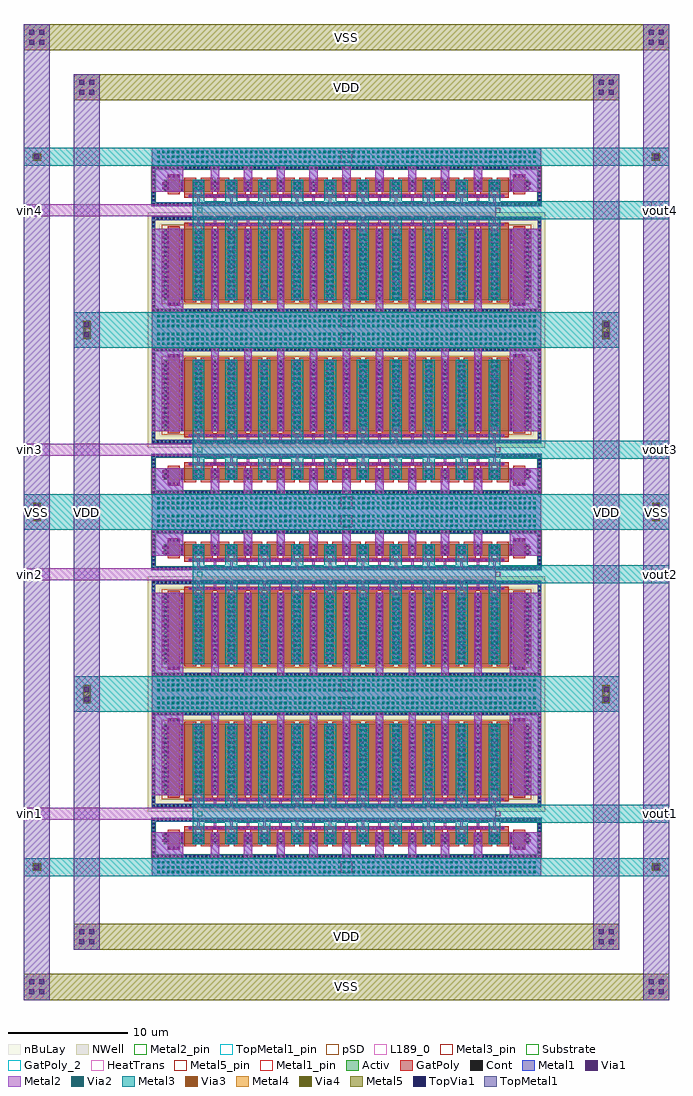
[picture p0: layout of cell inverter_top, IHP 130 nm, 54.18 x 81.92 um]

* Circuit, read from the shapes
.subckt inverter_top VDD VSS vin1 vin2 vin3 vin4 vout1 vout2 vout3 vout4
XM1 VSS VSS VSS VSS sg13_lv_nmos w=1u l=1u m=8
XM2 vout1 vin1 VSS VSS sg13_lv_nmos w=1u l=1u m=20
XM3 vout2 vin2 VSS VSS sg13_lv_nmos w=1u l=1u m=20
XM4 vout3 vin3 VSS VSS sg13_lv_nmos w=1u l=1u m=20
XM5 vout4 vin4 VSS VSS sg13_lv_nmos w=1u l=1u m=20
XM6 VDD VDD VDD VDD sg13_lv_pmos w=6u l=1u m=8
XM7 vout1 vin1 VDD VDD sg13_lv_pmos w=6u l=1u m=20
XM8 vout2 vin2 VDD VDD sg13_lv_pmos w=6u l=1u m=20
XM9 vout3 vin3 VDD VDD sg13_lv_pmos w=6u l=1u m=20
XM10 vout4 vin4 VDD VDD sg13_lv_pmos w=6u l=1u m=20
.ends

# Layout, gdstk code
import gdstk
lib = gdstk.Library(unit=1e-6, precision=1e-09)
def R(c, l, rs):  # rectangles x0, y0, x1, y1
    for r in rs: c.add(gdstk.rectangle(r[:2], r[2:], *l))
def A(c, l, x, y, w, h, nx, ny, dx, dy):  # array of equal rectangles
    R(c, l, [(x+i*dx, y+j*dy, x+i*dx+w, y+j*dy+h) for i in range(nx) for j in range(ny)])
def P(c, l, *ps):  # polygons
    for p in ps: c.add(gdstk.Polygon(p, *l))
Activ = (1, 0)
GatPoly = (5, 0)
GatPoly_2 = (5, 2)
Cont = (6, 0)
Metal1 = (8, 0)
Metal1_pin = (8, 2)
Metal2 = (10, 0)
Metal2_pin = (10, 2)
pSD = (14, 0)
Via1 = (19, 0)
Via2 = (29, 0)
Metal3 = (30, 0)
Metal3_pin = (30, 2)
NWell = (31, 0)
nBuLay = (32, 0)
Substrate = (40, 0)
Via3 = (49, 0)
Metal4 = (50, 0)
HeatTrans = (51, 0)
Via4 = (66, 0)
Metal5 = (67, 0)
Metal5_pin = (67, 2)
TopVia1 = (125, 0)
TopMetal1 = (126, 0)
TopMetal1_pin = (126, 2)
L189_0 = (189, 0)

nmos = lib.new_cell('nmos')
A(nmos, Activ, 0, 0, 0.3, 0.3, 23, 1, 1.38, 0)
R(nmos, Activ, [(0,0,30.66,1)])
P(nmos, Activ, [(-1.01,-1.19),(-1.01,1.89),(-0.71,1.89),(-0.71,-0.89),(31.37,-0.89),(31.37,1.89),(-1.01,1.89),(-1.01,2.19),(31.67,2.19),(31.67,-1.19)])
A(nmos, GatPoly, 0.34, -0.18, 1, 1.36, 22, 1, 1.38, 0)
R(nmos, GatPoly_2, [(0.34,-0.18,1.34,1.18), (0.34,-0.18,1.34,1.18)])
A(nmos, Cont, -0.94, -1.12, 0.16, 0.16, 48, 2, 0.34, 3.08)
A(nmos, Cont, 15.46, -1.12, 0.16, 0.16, 48, 2, 0.34, 3.08)
A(nmos, Cont, -0.94, -0.78, 0.16, 0.16, 1, 4, 0, 0.34)
A(nmos, Cont, 31.44, -0.78, 0.16, 0.16, 1, 4, 0, 0.34)
A(nmos, Cont, 0.07, 0.07, 0.16, 0.16, 23, 3, 1.38, 0.35)
A(nmos, Cont, -0.94, 0.6, 0.16, 0.16, 1, 4, 0, 0.34)
A(nmos, Cont, 31.44, 0.6, 0.16, 0.16, 1, 4, 0, 0.34)
A(nmos, Metal1, 0.07, 0, 0.16, 1, 23, 1, 1.38, 0)
R(nmos, Metal1, [(-1.01,-1.19,31.67,-0.89), (-1.01,-0.89,-0.71,1.89), (31.37,-0.89,31.67,1.89), (-1.01,1.89,31.67,2.19)])
R(nmos, Metal1_pin, [(0.07,0,0.23,1), (0.07,0,0.23,1), (1.45,0,1.61,1), (1.45,0,1.61,1)])
P(nmos, pSD, [(-1.04,-1.22),(-1.04,1.86),(-0.68,1.86),(-0.68,-0.86),(31.34,-0.86),(31.34,1.86),(-1.04,1.86),(-1.04,2.22),(31.7,2.22),(31.7,-1.22)])
P(nmos, Substrate, [(-1.04,-1.22),(-1.04,1.86),(-0.68,1.86),(-0.68,-0.86),(31.34,-0.86),(31.34,1.86),(-1.04,1.86),(-1.04,2.22),(31.7,2.22),(31.7,-1.22)])
A(nmos, HeatTrans, 0.34, -0.18, 1, 1.36, 22, 1, 1.38, 0)
nmos.add(gdstk.Label('nmos', (0.84,0.5), layer=63, texttype=0))
nmos.add(gdstk.Label('sub!', (15.33,-1.04), layer=63, texttype=0))
nmos.add(gdstk.Label('nmos', (0.84,0.5), layer=51, texttype=0))
nmos.add(gdstk.Label('nmos', (2.22,0.5), layer=51, texttype=0))
nmos.add(gdstk.Label('nmos', (3.6,0.5), layer=51, texttype=0))
nmos.add(gdstk.Label('nmos', (4.98,0.5), layer=51, texttype=0))
nmos.add(gdstk.Label('nmos', (6.36,0.5), layer=51, texttype=0))
nmos.add(gdstk.Label('nmos', (7.74,0.5), layer=51, texttype=0))
nmos.add(gdstk.Label('nmos', (9.12,0.5), layer=51, texttype=0))
nmos.add(gdstk.Label('nmos', (10.5,0.5), layer=51, texttype=0))
nmos.add(gdstk.Label('nmos', (11.88,0.5), layer=51, texttype=0))
nmos.add(gdstk.Label('nmos', (13.26,0.5), layer=51, texttype=0))
nmos.add(gdstk.Label('nmos', (14.64,0.5), layer=51, texttype=0))
nmos.add(gdstk.Label('nmos', (16.02,0.5), layer=51, texttype=0))
nmos.add(gdstk.Label('nmos', (17.4,0.5), layer=51, texttype=0))
nmos.add(gdstk.Label('nmos', (18.78,0.5), layer=51, texttype=0))
nmos.add(gdstk.Label('nmos', (20.16,0.5), layer=51, texttype=0))
nmos.add(gdstk.Label('nmos', (21.54,0.5), layer=51, texttype=0))
nmos.add(gdstk.Label('nmos', (22.92,0.5), layer=51, texttype=0))
nmos.add(gdstk.Label('nmos', (24.3,0.5), layer=51, texttype=0))
nmos.add(gdstk.Label('nmos', (25.68,0.5), layer=51, texttype=0))
nmos.add(gdstk.Label('nmos', (27.06,0.5), layer=51, texttype=0))
nmos.add(gdstk.Label('nmos', (28.44,0.5), layer=51, texttype=0))
nmos.add(gdstk.Label('nmos', (29.82,0.5), layer=51, texttype=0))
nmos.add(gdstk.Label('sub!', (15.33,-1.04), layer=40, texttype=0))

via_stack = lib.new_cell('via_stack')
R(via_stack, Metal1, [(-0.35,-0.31,0.35,0.31)])
R(via_stack, Metal2, [(-0.35,-0.305,0.35,0.305)])
R(via_stack, Via1, [(-0.3,-0.3,-0.11,-0.11), (0.11,-0.3,0.3,-0.11), (-0.3,0.11,-0.11,0.3), (0.11,0.11,0.3,0.3)])

via_stack_1 = lib.new_cell('via_stack$1')
R(via_stack_1, Metal1, [(-0.105,-0.35,0.105,0.35)])
R(via_stack_1, Metal2, [(-0.1,-0.35,0.1,0.35)])
R(via_stack_1, Via1, [(-0.095,-0.3,0.095,-0.11), (-0.095,0.11,0.095,0.3)])

via_stack_2 = lib.new_cell('via_stack$2')
R(via_stack_2, Metal1, [(-0.35,-0.31,0.35,0.31)])
R(via_stack_2, Metal2, [(-0.35,-0.305,0.35,0.305)])
R(via_stack_2, Via1, [(-0.3,-0.3,-0.11,-0.11), (0.11,-0.3,0.3,-0.11), (-0.3,0.11,-0.11,0.3), (0.11,0.11,0.3,0.3)])
R(via_stack_2, Via2, [(-0.3,-0.3,-0.11,-0.11), (0.11,-0.3,0.3,-0.11), (-0.3,0.11,-0.11,0.3), (0.11,0.11,0.3,0.3)])
R(via_stack_2, Metal3, [(-0.35,-0.305,0.35,0.305)])

via_stack_3 = lib.new_cell('via_stack$3')
R(via_stack_3, GatPoly, [(-13.24,-0.15,13.24,0.15)])
A(via_stack_3, Cont, -13.17, -0.08, 0.16, 0.16, 78, 1, 0.34, 0)
R(via_stack_3, Metal1, [(-13.22,-0.08,13.22,0.08)])

via_stack_4 = lib.new_cell('via_stack$4')
R(via_stack_4, Metal1, [(-13.06,-0.105,13.06,0.105)])
R(via_stack_4, Metal2, [(-13.06,-0.1,13.06,0.1)])
A(via_stack_4, Via1, -13.01, -0.095, 0.19, 0.19, 64, 1, 0.41, 0)

via_stack_5 = lib.new_cell('via_stack$5')
R(via_stack_5, GatPoly, [(-0.49,-0.15,0.49,0.15)])
A(via_stack_5, Cont, -0.42, -0.08, 0.16, 0.16, 3, 1, 0.34, 0)
R(via_stack_5, Metal1, [(-0.555,-0.105,0.555,0.105)])
R(via_stack_5, Metal2, [(-0.555,-0.1,0.555,0.1)])
A(via_stack_5, Via1, -0.505, -0.095, 0.19, 0.19, 3, 1, 0.41, 0)

pmos = lib.new_cell('pmos')
A(pmos, Activ, 0, 0, 0.3, 0.3, 23, 1, 1.38, 0)
R(pmos, Activ, [(0,0,30.66,6)])
P(pmos, Activ, [(-1.01,-1.01),(-1.01,6.71),(-0.71,6.71),(-0.71,-0.71),(31.37,-0.71),(31.37,6.71),(-1.01,6.71),(-1.01,7.01),(31.67,7.01),(31.67,-1.01)])
A(pmos, GatPoly, 0.34, -0.18, 1, 6.36, 22, 1, 1.38, 0)
R(pmos, GatPoly, [(0.34,-0.18,1.34,6.18), (0.34,-0.18,1.34,6.18)])
A(pmos, Cont, -0.94, -0.94, 0.16, 0.16, 48, 2, 0.34, 7.72)
A(pmos, Cont, 15.46, -0.94, 0.16, 0.16, 48, 2, 0.34, 7.72)
A(pmos, Cont, -0.94, -0.6, 0.16, 0.16, 1, 10, 0, 0.34)
A(pmos, Cont, 31.44, -0.6, 0.16, 0.16, 1, 10, 0, 0.34)
A(pmos, Cont, 0.07, 0.07, 0.16, 0.16, 23, 4, 1.38, 0.355)
A(pmos, Cont, 0.07, 1.495, 0.16, 0.16, 23, 4, 1.38, 0.355)
A(pmos, Cont, 0.07, 2.92, 0.16, 0.16, 23, 4, 1.38, 0.355)
A(pmos, Cont, -0.94, 3.04, 0.16, 0.16, 1, 11, 0, 0.34)
A(pmos, Cont, 31.44, 3.04, 0.16, 0.16, 1, 11, 0, 0.34)
A(pmos, Cont, 0.07, 4.345, 0.16, 0.16, 23, 4, 1.38, 0.355)
A(pmos, Cont, 0.07, 5.77, 0.16, 0.16, 23, 1, 1.38, 0)
A(pmos, Metal1, 1.45, 0, 0.16, 6, 22, 1, 1.38, 0)
R(pmos, Metal1, [(-1.01,-1.01,31.67,-0.71), (-1.01,-0.71,-0.71,6.71), (31.37,-0.71,31.67,6.71), (0.07,0,0.23,6), (0.07,0,0.23,6), (0.07,0,0.23,6), (1.45,0,1.61,6), (1.45,0,1.61,6), (-1.01,6.71,31.67,7.01)])
R(pmos, pSD, [(-0.18,-0.3,30.84,6.3)])
R(pmos, NWell, [(-1.36,-1.36,32.02,7.36), (-0.31,-0.31,30.97,6.31)])
P(pmos, nBuLay, [(-1.36,-1.36),(-1.36,6.36),(-0.36,6.36),(-0.36,-0.36),(31.02,-0.36),(31.02,6.36),(-1.36,6.36),(-1.36,7.36),(32.02,7.36),(32.02,-1.36)])
A(pmos, HeatTrans, 0.34, -0.18, 1, 6.36, 22, 1, 1.38, 0)
pmos.add(gdstk.Label('pmos', (0.84,3), layer=63, texttype=0))
pmos.add(gdstk.Label('well', (15.33,-0.86), layer=63, texttype=0))
pmos.add(gdstk.Label('pmos', (0.84,3), layer=51, texttype=0))
pmos.add(gdstk.Label('pmos', (2.22,3), layer=51, texttype=0))
pmos.add(gdstk.Label('pmos', (3.6,3), layer=51, texttype=0))
pmos.add(gdstk.Label('pmos', (4.98,3), layer=51, texttype=0))
pmos.add(gdstk.Label('pmos', (6.36,3), layer=51, texttype=0))
pmos.add(gdstk.Label('pmos', (7.74,3), layer=51, texttype=0))
pmos.add(gdstk.Label('pmos', (9.12,3), layer=51, texttype=0))
pmos.add(gdstk.Label('pmos', (10.5,3), layer=51, texttype=0))
pmos.add(gdstk.Label('pmos', (11.88,3), layer=51, texttype=0))
pmos.add(gdstk.Label('pmos', (13.26,3), layer=51, texttype=0))
pmos.add(gdstk.Label('pmos', (14.64,3), layer=51, texttype=0))
pmos.add(gdstk.Label('pmos', (16.02,3), layer=51, texttype=0))
pmos.add(gdstk.Label('pmos', (17.4,3), layer=51, texttype=0))
pmos.add(gdstk.Label('pmos', (18.78,3), layer=51, texttype=0))
pmos.add(gdstk.Label('pmos', (20.16,3), layer=51, texttype=0))
pmos.add(gdstk.Label('pmos', (21.54,3), layer=51, texttype=0))
pmos.add(gdstk.Label('pmos', (22.92,3), layer=51, texttype=0))
pmos.add(gdstk.Label('pmos', (24.3,3), layer=51, texttype=0))
pmos.add(gdstk.Label('pmos', (25.68,3), layer=51, texttype=0))
pmos.add(gdstk.Label('pmos', (27.06,3), layer=51, texttype=0))
pmos.add(gdstk.Label('pmos', (28.44,3), layer=51, texttype=0))
pmos.add(gdstk.Label('pmos', (29.82,3), layer=51, texttype=0))
pmos.add(gdstk.Label('well', (15.33,3), layer=31, texttype=0))

via_stack_6 = lib.new_cell('via_stack$6')
R(via_stack_6, Metal1, [(-0.31,-2.81,0.31,2.81)])
R(via_stack_6, Metal2, [(-0.305,-2.81,0.305,2.81)])
A(via_stack_6, Via1, -0.3, -2.76, 0.19, 0.19, 1, 14, 0, 0.41)
A(via_stack_6, Via1, 0.11, -2.76, 0.19, 0.19, 1, 14, 0, 0.41)

via_stack_7 = lib.new_cell('via_stack$7')
R(via_stack_7, Metal1, [(-0.105,-2.81,0.105,2.81)])
R(via_stack_7, Metal2, [(-0.1,-2.81,0.1,2.81)])
A(via_stack_7, Via1, -0.095, -2.76, 0.19, 0.19, 1, 14, 0, 0.41)

via_stack_8 = lib.new_cell('via_stack$8')
R(via_stack_8, Metal1, [(-0.31,-2.81,0.31,2.81)])
R(via_stack_8, Metal2, [(-0.305,-2.81,0.305,2.81)])
A(via_stack_8, Via1, -0.3, -2.76, 0.19, 0.19, 1, 14, 0, 0.41)
A(via_stack_8, Via1, 0.11, -2.76, 0.19, 0.19, 1, 14, 0, 0.41)
A(via_stack_8, Via2, -0.3, -2.76, 0.19, 0.19, 1, 14, 0, 0.41)
A(via_stack_8, Via2, 0.11, -2.76, 0.19, 0.19, 1, 14, 0, 0.41)
R(via_stack_8, Metal3, [(-0.305,-2.81,0.305,2.81)])

via_stack_9 = lib.new_cell('via_stack$9')
R(via_stack_9, Metal1, [(-15.93,-0.515,15.93,0.515)])
R(via_stack_9, Metal2, [(-15.93,-0.51,15.93,0.51)])
A(via_stack_9, Via1, -15.88, -0.505, 0.19, 0.19, 78, 3, 0.41, 0.41)
A(via_stack_9, Via2, -15.88, -0.505, 0.19, 0.19, 78, 3, 0.41, 0.41)
R(via_stack_9, Metal3, [(-15.93,-0.51,15.93,0.51)])

inverter = lib.new_cell('inverter')
R(inverter, GatPoly, [(1.7,2.21,2.7,2.51), (30.68,2.21,31.68,2.51), (3.08,3.87,30.3,4.17), (3.08,6.29,30.3,6.59), (1.7,12.95,2.7,13.25), (30.68,12.95,31.68,13.25)])
A(inverter, Metal1, 5.3, 1.5, 0.7, 2.19, 9, 1, 2.76, 0)
A(inverter, Metal1, 3.92, 2.69, 0.7, 1, 10, 1, 2.76, 0)
A(inverter, Metal1, 3.96, 6.77, 0.62, 6, 10, 1, 2.76, 0)
A(inverter, Metal1, 5.34, 6.77, 0.62, 7.01, 9, 1, 2.76, 0)
R(inverter, Metal1, [(0.35,0,33.03,1.5), (0.35,1.5,2.995,3.69), (30.385,1.5,33.03,3.69), (3.47,3.915,29.91,4.125), (3.47,6.335,29.91,6.545), (0.35,6.77,2.995,13.78), (30.385,6.77,33.03,13.78), (0.35,13.78,33.03,15.28)])
A(inverter, Metal2, 5.3, 1.5, 0.7, 2.19, 9, 1, 2.76, 0)
A(inverter, Metal2, 3.92, 2.69, 0.7, 1, 10, 1, 2.76, 0)
A(inverter, Metal2, 4.165, 4.12, 0.21, 2.22, 19, 1, 1.38, 0)
A(inverter, Metal2, 3.96, 6.77, 0.62, 6, 10, 1, 2.76, 0)
A(inverter, Metal2, 5.34, 6.77, 0.62, 7.01, 9, 1, 2.76, 0)
R(inverter, Metal2, [(0.35,0,33.03,1.5), (0.35,1.5,2.995,3.69), (30.385,1.5,33.03,3.69), (3.47,3.915,29.91,4.125), (4.165,4.73,29.215,5.73), (3.47,6.335,29.91,6.545), (0.35,6.77,2.995,13.78), (30.385,6.77,33.03,13.78), (0.35,13.78,33.03,15.28)])
R(inverter, Metal2_pin, [(4.165,5.03,4.565,5.43)])
A(inverter, Metal3, 3.77, 2.69, 1, 10.08, 10, 1, 2.76, 0)
R(inverter, Metal3, [(0.35,0,33.03,1.5), (3.77,4.48,29.61,5.98), (0.35,13.78,33.03,15.28)])
R(inverter, Metal3_pin, [(16.19,0.26,17.19,1.26), (29.21,5.03,29.61,5.43), (16.2,14.03,17.2,15.03)])
inverter.add(gdstk.Reference(nmos, (1.36,2.69)))
inverter.add(gdstk.Reference(via_stack, (1.51,3.19)))
inverter.add(gdstk.Reference(via_stack, (31.87,3.19)))
inverter.add(gdstk.Reference(via_stack_1, (2.89,3.19)))
inverter.add(gdstk.Reference(via_stack_1, (30.49,3.19)))
inverter.add(gdstk.Reference(via_stack, (5.65,3.19)))
inverter.add(gdstk.Reference(via_stack, (8.41,3.19)))
inverter.add(gdstk.Reference(via_stack, (11.17,3.19)))
inverter.add(gdstk.Reference(via_stack, (13.93,3.19)))
inverter.add(gdstk.Reference(via_stack, (16.69,3.19)))
inverter.add(gdstk.Reference(via_stack, (19.45,3.19)))
inverter.add(gdstk.Reference(via_stack, (22.21,3.19)))
inverter.add(gdstk.Reference(via_stack, (24.97,3.19)))
inverter.add(gdstk.Reference(via_stack, (27.73,3.19)))
inverter.add(gdstk.Reference(via_stack_2, (4.27,3.19)))
inverter.add(gdstk.Reference(via_stack_2, (7.03,3.19)))
inverter.add(gdstk.Reference(via_stack_2, (9.79,3.19)))
inverter.add(gdstk.Reference(via_stack_2, (12.55,3.19)))
inverter.add(gdstk.Reference(via_stack_2, (15.31,3.19)))
inverter.add(gdstk.Reference(via_stack_2, (18.07,3.19)))
inverter.add(gdstk.Reference(via_stack_2, (20.83,3.19)))
inverter.add(gdstk.Reference(via_stack_2, (23.59,3.19)))
inverter.add(gdstk.Reference(via_stack_2, (26.35,3.19)))
inverter.add(gdstk.Reference(via_stack_2, (29.11,3.19)))
inverter.add(gdstk.Reference(via_stack_3, (16.69,4.02)))
inverter.add(gdstk.Reference(via_stack_4, (16.69,4.02)))
inverter.add(gdstk.Reference(via_stack_5, (2.2,2.36)))
inverter.add(gdstk.Reference(via_stack_5, (31.18,2.36)))
inverter.add(gdstk.Reference(pmos, (1.36,6.77)))
inverter.add(gdstk.Reference(via_stack_6, (1.51,9.77)))
inverter.add(gdstk.Reference(via_stack_6, (31.87,9.77)))
inverter.add(gdstk.Reference(via_stack_7, (2.89,9.77)))
inverter.add(gdstk.Reference(via_stack_7, (30.49,9.77)))
inverter.add(gdstk.Reference(via_stack_6, (5.65,9.77)))
inverter.add(gdstk.Reference(via_stack_6, (8.41,9.77)))
inverter.add(gdstk.Reference(via_stack_6, (11.17,9.77)))
inverter.add(gdstk.Reference(via_stack_6, (13.93,9.77)))
inverter.add(gdstk.Reference(via_stack_6, (16.69,9.77)))
inverter.add(gdstk.Reference(via_stack_6, (19.45,9.77)))
inverter.add(gdstk.Reference(via_stack_6, (22.21,9.77)))
inverter.add(gdstk.Reference(via_stack_6, (24.97,9.77)))
inverter.add(gdstk.Reference(via_stack_6, (27.73,9.77)))
inverter.add(gdstk.Reference(via_stack_8, (4.27,9.77)))
inverter.add(gdstk.Reference(via_stack_8, (7.03,9.77)))
inverter.add(gdstk.Reference(via_stack_8, (9.79,9.77)))
inverter.add(gdstk.Reference(via_stack_8, (12.55,9.77)))
inverter.add(gdstk.Reference(via_stack_8, (15.31,9.77)))
inverter.add(gdstk.Reference(via_stack_8, (18.07,9.96)))
inverter.add(gdstk.Reference(via_stack_8, (20.83,9.96)))
inverter.add(gdstk.Reference(via_stack_8, (23.59,9.96)))
inverter.add(gdstk.Reference(via_stack_8, (26.35,9.96)))
inverter.add(gdstk.Reference(via_stack_8, (29.11,9.96)))
inverter.add(gdstk.Reference(via_stack_3, (16.69,6.44)))
inverter.add(gdstk.Reference(via_stack_4, (16.69,6.44)))
inverter.add(gdstk.Reference(via_stack_5, (2.2,13.1)))
inverter.add(gdstk.Reference(via_stack_5, (31.18,13.1)))
inverter.add(gdstk.Reference(via_stack_9, (16.69,0.75)))
inverter.add(gdstk.Reference(via_stack_9, (16.69,14.53)))
inverter.add(gdstk.Label('vin', (4.365,5.23), layer=10, texttype=25))
inverter.add(gdstk.Label('vout', (29.41,5.23), layer=30, texttype=25))
inverter.add(gdstk.Label('VSS', (16.69,0.76), layer=30, texttype=25))
inverter.add(gdstk.Label('VDD', (16.7,14.53), layer=30, texttype=25))

via = lib.new_cell('Via')
R(via, Metal5, [(-0.73,-0.73,0.73,0.73)])
R(via, TopVia1, [(-0.63,-0.63,-0.21,-0.21), (0.21,-0.63,0.63,-0.21), (-0.63,0.21,-0.21,0.63), (0.21,0.21,0.63,0.63)])
R(via, TopMetal1, [(-1.05,-1.05,1.05,1.05)])

via_stack_10 = lib.new_cell('via_stack$10')
R(via_stack_10, Metal3, [(-0.35,-0.305,0.35,0.305)])
R(via_stack_10, Via3, [(-0.3,-0.3,-0.11,-0.11), (0.11,-0.3,0.3,-0.11), (-0.3,0.11,-0.11,0.3), (0.11,0.11,0.3,0.3)])
R(via_stack_10, Metal4, [(-0.35,-0.305,0.35,0.305)])
R(via_stack_10, Via4, [(-0.3,-0.3,-0.11,-0.11), (0.11,-0.3,0.3,-0.11), (-0.3,0.11,-0.11,0.3), (0.11,0.11,0.3,0.3)])
R(via_stack_10, Metal5, [(-0.35,-0.31,0.35,0.31)])
R(via_stack_10, TopVia1, [(-0.21,-0.21,0.21,0.21)])
R(via_stack_10, TopMetal1, [(-0.82,-0.82,0.82,0.82)])

via_stack_11 = lib.new_cell('via_stack$11')
R(via_stack_11, Metal3, [(-0.305,-0.76,0.305,0.76)])
A(via_stack_11, Via3, -0.3, -0.71, 0.19, 0.19, 1, 4, 0, 0.41)
A(via_stack_11, Via3, 0.11, -0.71, 0.19, 0.19, 1, 4, 0, 0.41)
R(via_stack_11, Metal4, [(-0.305,-0.76,0.305,0.76)])
A(via_stack_11, Via4, -0.3, -0.71, 0.19, 0.19, 1, 4, 0, 0.41)
A(via_stack_11, Via4, 0.11, -0.71, 0.19, 0.19, 1, 4, 0, 0.41)
R(via_stack_11, Metal5, [(-0.31,-0.76,0.31,0.76)])
R(via_stack_11, TopVia1, [(-0.21,-0.63,0.21,-0.21), (-0.21,0.21,0.21,0.63)])
R(via_stack_11, TopMetal1, [(-0.82,-1.05,0.82,1.05)])

inverter_top = lib.new_cell('inverter_top')
R(inverter_top, Metal2, [(0,15.13,14.565,16.13), (0,35.23,14.565,36.23), (0,45.69,14.565,46.69), (0,65.79,14.565,66.79)])
R(inverter_top, Metal2_pin, [(0,15.13,1,16.13), (0,35.23,1,36.23), (0,45.69,1,46.69), (0,65.79,1,66.79)])
R(inverter_top, Metal3, [(0,10.4,10.75,11.9), (43.43,10.4,54.18,11.9), (40.01,14.88,54.18,16.38), (4.2,24.18,10.75,27.18), (43.43,24.18,49.98,27.18), (40.01,34.98,54.18,36.48), (0,39.46,10.75,42.46), (43.43,39.46,54.18,42.46), (40.01,45.44,54.18,46.94), (4.2,54.74,10.75,57.74), (43.43,54.74,49.98,57.74), (40.01,65.54,54.18,67.04), (0,70.02,10.75,71.52), (43.43,70.02,54.18,71.52)])
R(inverter_top, Metal3_pin, [(52.68,14.88,54.18,16.38), (52.68,34.98,54.18,36.48), (52.68,45.44,54.18,46.94), (52.68,65.54,54.18,67.04)])
R(inverter_top, NWell, [(10.4,24.53,43.78,26.83), (10.4,55.09,43.78,57.39)])
R(inverter_top, Metal5, [(0,0,54.18,2.2), (4.2,4.2,49.98,6.4), (4.2,75.52,49.98,77.72), (0,79.72,54.18,81.92)])
R(inverter_top, Metal5_pin, [(0,0,54.18,2.2), (4.2,4.2,49.98,6.4), (4.2,75.52,49.98,77.72), (0,79.72,54.18,81.92)])
R(inverter_top, TopMetal1, [(0,0,2.2,81.92), (51.98,0,54.18,81.92), (4.2,4.2,6.4,77.72), (47.78,4.2,49.98,77.72)])
R(inverter_top, TopMetal1_pin, [(0,0,2.2,81.92), (51.98,0,54.18,81.92), (4.2,4.2,6.4,77.72), (47.78,4.2,49.98,77.72)])
R(inverter_top, L189_0, [(0,0,54.18,81.92)])
inverter_top.add(gdstk.Reference(inverter, (10.4,10.4)))
inverter_top.add(gdstk.Reference(inverter, (10.4,40.96), x_reflection=True))
inverter_top.add(gdstk.Reference(inverter, (10.4,40.96)))
inverter_top.add(gdstk.Reference(inverter, (10.4,71.52), x_reflection=True))
inverter_top.add(gdstk.Reference(via, (1.1,1.1)))
inverter_top.add(gdstk.Reference(via, (1.1,80.82)))
inverter_top.add(gdstk.Reference(via, (53.08,1.1)))
inverter_top.add(gdstk.Reference(via, (53.08,80.82)))
inverter_top.add(gdstk.Reference(via, (5.3,5.3)))
inverter_top.add(gdstk.Reference(via, (5.3,76.62)))
inverter_top.add(gdstk.Reference(via, (48.88,5.3)))
inverter_top.add(gdstk.Reference(via, (48.88,76.62)))
inverter_top.add(gdstk.Reference(via_stack_10, (1.1,11.15)))
inverter_top.add(gdstk.Reference(via_stack_10, (53.08,11.15)))
inverter_top.add(gdstk.Reference(via_stack_11, (1.1,40.96)))
inverter_top.add(gdstk.Reference(via_stack_11, (53.08,40.96)))
inverter_top.add(gdstk.Reference(via_stack_10, (1.1,70.77)))
inverter_top.add(gdstk.Reference(via_stack_10, (53.08,70.77)))
inverter_top.add(gdstk.Reference(via_stack_11, (5.3,25.68)))
inverter_top.add(gdstk.Reference(via_stack_11, (48.88,25.68)))
inverter_top.add(gdstk.Reference(via_stack_11, (5.3,56.24)))
inverter_top.add(gdstk.Reference(via_stack_11, (48.88,56.24)))
inverter_top.add(gdstk.Label('vin1', (0.5,15.63), layer=10, texttype=25))
inverter_top.add(gdstk.Label('vin2', (0.5,35.73), layer=10, texttype=25))
inverter_top.add(gdstk.Label('vin3', (0.5,46.19), layer=10, texttype=25))
inverter_top.add(gdstk.Label('vin4', (0.5,66.29), layer=10, texttype=25))
inverter_top.add(gdstk.Label('vout1', (53.43,15.63), layer=30, texttype=25))
inverter_top.add(gdstk.Label('vout2', (53.43,35.73), layer=30, texttype=25))
inverter_top.add(gdstk.Label('vout3', (53.43,46.19), layer=30, texttype=25))
inverter_top.add(gdstk.Label('vout4', (53.43,66.29), layer=30, texttype=25))
inverter_top.add(gdstk.Label('VSS', (27.09,1.1), layer=67, texttype=25))
inverter_top.add(gdstk.Label('VSS', (27.09,80.82), layer=67, texttype=25))
inverter_top.add(gdstk.Label('VDD', (27.09,5.3), layer=67, texttype=25))
inverter_top.add(gdstk.Label('VDD', (27.09,76.62), layer=67, texttype=25))
inverter_top.add(gdstk.Label('VSS', (1.1,40.96), layer=126, texttype=25))
inverter_top.add(gdstk.Label('VSS', (53.08,40.96), layer=126, texttype=25))
inverter_top.add(gdstk.Label('VDD', (5.3,40.96), layer=126, texttype=25))
inverter_top.add(gdstk.Label('VDD', (48.88,40.96), layer=126, texttype=25))

lib.write_gds('inverter_top.gds')
